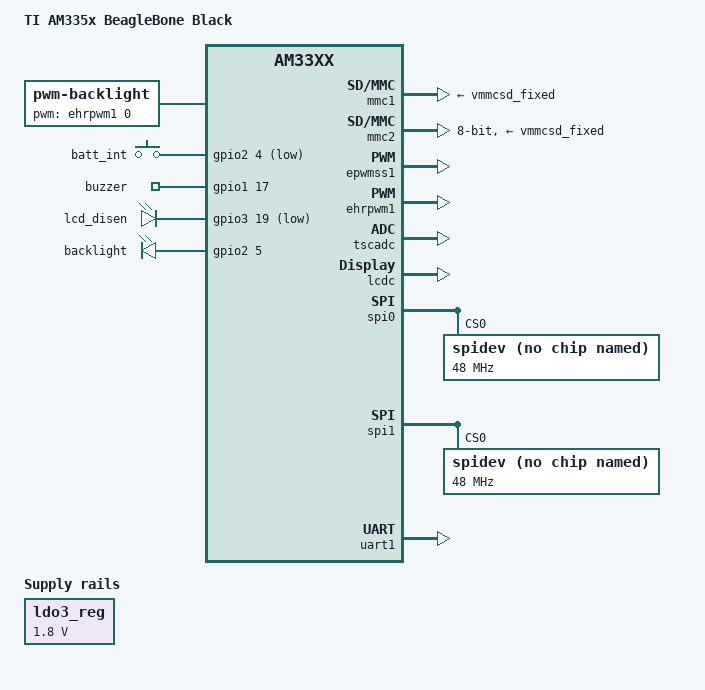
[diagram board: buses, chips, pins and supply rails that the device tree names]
/*
 * Copyright (C) 2012 Texas Instruments Incorporated - http://www.ti.com/
 *
 * This program is free software; you can redistribute it and/or modify
 * it under the terms of the GNU General Public License version 2 as
 * published by the Free Software Foundation.
 */
/dts-v1/;

#include "am33xx.dtsi"
#include "am335x-bone-common.dtsi"
#include "am335x-bone-pinmux-panel-800x480-24bit.dtsi"

#include "dt-bindings/input/input.h"

/ {
	model = "TI AM335x BeagleBone Black";
	compatible = "ti,am335x-bone-black", "ti,am335x-bone", "ti,am33xx";
};

&ldo3_reg {
	regulator-min-microvolt = <1800000>;
	regulator-max-microvolt = <1800000>;
	regulator-always-on;
};

&mmc1 {
	vmmc-supply = <&vmmcsd_fixed>;
};

&mmc2 {
	vmmc-supply = <&vmmcsd_fixed>;
	pinctrl-names = "default";
	pinctrl-0 = <&emmc_pins>;
	bus-width = <8>;
	status = "okay";
};

&am33xx_pinmux {
	bb_lcd_pwm_backlight_pins: pinmux_bb_lcd_pwm_backlight_pins {
		pinctrl-single,pins = <
			/* BONE_P9_14 (PIN_OUTPUT_PULLDOWN | MUX_MODE6) *//* gpmc_a2.ehrpwm1a */
		>;
	};

	am335x_spi0_pins: pinmux_am335x_spi0_pins {
		pinctrl-single,pins = <
			BONE_P9_22 (PIN_INPUT_PULLUP | MUX_MODE0)		/* spi0_sclk.spi0_sclk */
			BONE_P9_21 (PIN_INPUT_PULLUP | MUX_MODE0)		/* spi0_d0.spi0_d0 */
			BONE_P9_18 (PIN_INPUT_PULLUP | MUX_MODE0)		/* spi0_d1.spi0_d1 */
			BONE_P9_17 (PIN_INPUT_PULLUP | MUX_MODE0)		/* spi0_cs0.spi0_cs0 */
		>;
	};

	am335x_spi1_pins: pinmux_am335x_spi1_pins {
		pinctrl-single,pins = <
			BONE_P9_31 (PIN_INPUT_PULLUP | MUX_MODE3)		/* mcasp0_aclkx.spi1_sclk */
			BONE_P9_29 (PIN_INPUT_PULLUP | MUX_MODE3)		/* mcasp0_fsx.spi1_d0 */
			BONE_P9_30 (PIN_INPUT_PULLUP | MUX_MODE3)		/* mcasp0_axr0.spi1_d1 */
			BONE_P9_28 (PIN_INPUT_PULLUP | MUX_MODE3)		/* mcasp0_ahclkr.spi1_cs0 */
		>;
	};

	uart1_pins: pinmux_uart1_pins {
		pinctrl-single,pins = <
			BONE_P9_24 (PIN_OUTPUT_PULLUP | MUX_MODE0)		/* uart1_txd.uart1_txd */
			BONE_P9_26 (PIN_INPUT_PULLUP | MUX_MODE0)		/* uart1_rxd.uart1_rxd */
		>;
	};

	led_pins: pinmux_led_pins {
		pinctrl-single,pins = <
			/* PWM_BUZZER */
			BONE_P9_23 (PIN_OUTPUT_PULLUP | MUX_MODE7)
			/* PWR_KILL */
			BONE_P9_25 (PIN_OUTPUT_PULLUP | MUX_MODE7)
			/* LCD_DISEN */
			BONE_P9_27 (PIN_OUTPUT_PULLUP | MUX_MODE7)
			/* PWM_LCD, Backlight */
			BONE_P8_09 (PIN_OUTPUT_PULLUP | MUX_MODE7)
		>;
	};

	key_pins: pinmux_key_pins {
		pinctrl-single,pins = <
			/* BATT_INT */
			BONE_P8_10 (PIN_INPUT_PULLUP | MUX_MODE7)
			/* FPGA Programer */
			BONE_P9_11 (PIN_INPUT_PULLUP | MUX_MODE7)
			BONE_P9_12 (PIN_OUTPUT_PULLUP | MUX_MODE7)
			BONE_P9_13 (PIN_OUTPUT_PULLUP | MUX_MODE7)
			BONE_P9_14 (PIN_INPUT_PULLUP | MUX_MODE7)
			BONE_P9_16 (PIN_OUTPUT_PULLUP | MUX_MODE7)
			BONE_P9_42A (PIN_INPUT_PULLUP | MUX_MODE7)
			/* PWR_INTR */
			BONE_P9_15 (PIN_INPUT_PULLUP | MUX_MODE7)
		>;
	};
};

&epwmss1 {
    status = "okay";
};

&ehrpwm1 {
    pinctrl-names = "default";
    	pinctrl-0 = <&bb_lcd_pwm_backlight_pins>;
    status = "okay";
};

&tscadc {
    status = "okay";
    tsc {
        ti,wires = <4>;
        ti,x-plate-resistance = <200>;
        ti,coordinate-readouts = <5>;
        ti,wire-config = <0x00 0x11 0x22 0x33>;
    };

    adc {
        ti,adc-channels = <4 5 6 7>;
    };
};

&lcdc {
	status = "okay";
};

/ {
	hdmi {
		compatible = "ti,tilcdc,slave";
		status = "disabled";
	};

	backlight: backlight {
        compatible = "pwm-backlight";
        pwms = <&ehrpwm1 0 50000 0>;
		brightness-levels = <0 51 53 56 62 75 101 152 255>;
        default-brightness-level = <8>;
        status = "okay";
    };

	panel {
		backlight = <&backlight>;
	};

	buttons: user_buttons {
		compatible = "gpio-keys";
		pinctrl-names = "default";
		pinctrl-0 = <&key_pins>;

		batt_int {
			label = "batt_int";
			linux,code = <105>;
			gpios = <&gpio2 4 0x1>;
			gpio-key,wakeup;
		};
	};

	leds: user_leds {
		compatible = "gpio-leds";
		pinctrl-names = "default";
		pinctrl-0 = <&led_pins>;

		buzzer {
			label = "buzzer";
			gpios = <&gpio1 17 GPIO_ACTIVE_HIGH>;
			linux,default-trigger = "none";
			default-state = "off";
		};
		lcd_disen {
			label = "lcd_disen";
			gpios = <&gpio3 19 GPIO_ACTIVE_LOW>;
			linux,default-trigger = "none";
			default-state = "off";
		};
		backlight {
			label = "backlight";
			gpios = <&gpio2 5 GPIO_ACTIVE_HIGH>;
			linux,default-trigger = "none";
			default-state = "on";
		};
	};
};

&rtc {
	system-power-controller;
};

&spi0 {
	pinctrl-names = "default";
	pinctrl-0 = <&am335x_spi0_pins>;
	status = "okay";

	spidev@0 {
		compatible = "spidev";
		spi-max-frequency = <48000000>;
		reg = <0>;
		spi-cpha;
	};
};

&spi1 {
	pinctrl-names = "default";
	pinctrl-0 = <&am335x_spi1_pins>;
	ti,pindir-d0-out-d1-in;
	status = "okay";

	spidev@0 {
		compatible = "spidev";
		spi-max-frequency = <48000000>;
		reg = <0>;
		spi-cpha;
	};
};

&uart1 {
	pinctrl-names = "default";
	pinctrl-0 = <&uart1_pins>;
	status = "okay";
};
